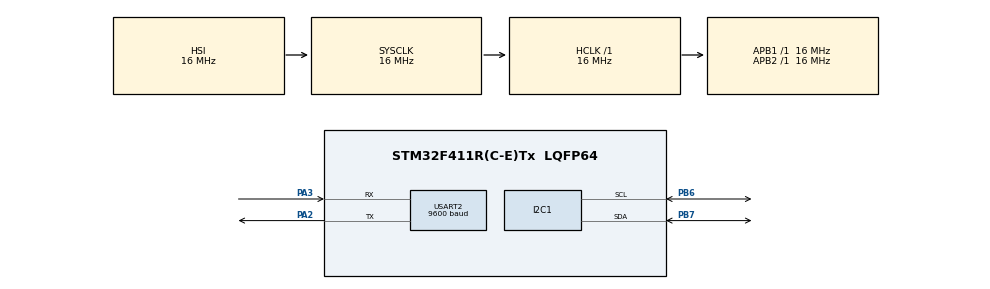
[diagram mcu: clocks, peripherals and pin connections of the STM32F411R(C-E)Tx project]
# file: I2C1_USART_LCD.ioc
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Mcu.Family=STM32F4
Mcu.Name=STM32F411R(C-E)Tx
Mcu.Package=LQFP64
NVIC.PriorityGroup=NVIC_PRIORITYGROUP_4
NVIC.USART2_IRQn=true\:0\:0\:false\:false\:true\:true\:true\:true
PA2.Mode=Asynchronous
PA2.Signal=USART2_TX
PA3.Mode=Asynchronous
PA3.Signal=USART2_RX
PB6.Mode=I2C
PB6.Signal=I2C1_SCL
PB7.Mode=I2C
PB7.Signal=I2C1_SDA
ProjectManager.HeapSize=0x200
ProjectManager.StackSize=0x400
ProjectManager.TargetToolchain=STM32CubeIDE
RCC.AHBFreq_Value=16000000
RCC.APB1Freq_Value=16000000
RCC.APB2Freq_Value=16000000
RCC.CortexFreq_Value=16000000
RCC.HSE_VALUE=25000000
RCC.HSI_VALUE=16000000
RCC.LSE_VALUE=32768
RCC.SYSCLKFreq_VALUE=16000000
RCC.VCOOutputFreq_Value=192000000
USART2.BaudRate=9600
USART2.VirtualMode=VM_ASYNC
board=custom

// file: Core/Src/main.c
/* USER CODE BEGIN Header */
/**
  ******************************************************************************
  * @file           : main.c
  * @brief          : Main program body
  ******************************************************************************
  * @attention
  *
  * Copyright (c) 2022 STMicroelectronics.
  * All rights reserved.
  *
  * This software is licensed under terms that can be found in the LICENSE file
  * in the root directory of this software component.
  * If no LICENSE file comes with this software, it is provided AS-IS.
  *
  ******************************************************************************
  */
/* USER CODE END Header */
#include "main.h"
#include <string.h>
#include"LCD.h"

I2C_HandleTypeDef hi2c1;

UART_HandleTypeDef huart2;

void SystemClock_Config(void);
static void MX_GPIO_Init(void);
static void MX_I2C1_Init(void);
static void MX_USART2_UART_Init(void);

uint8_t Rcvd_Data;
uint8_t Data_Buffer[8];
uint8_t i;
uint8_t USER_DATA[8] ="sankalp!";
uint8_t sentbit;

int main(void)
{

  /* MCU Configuration--------------------------------------------------------*/

  /* Reset of all peripherals, Initializes the Flash interface and the Systick. */
  HAL_Init();

  /* Configure the system clock */
  SystemClock_Config();

  /* Initialize all configured peripherals */
  MX_GPIO_Init();
  MX_I2C1_Init();
  MX_USART2_UART_Init();
  uint32_t count = 0;
  /* USER CODE BEGIN 2 */

	LCD_init();
	delay(10);

  HAL_UART_Transmit(&huart2, (uint8_t *)USER_DATA, strlen(USER_DATA), HAL_MAX_DELAY);
  /* USER CODE END 2 */
  /* Infinite loop */
  /* USER CODE BEGIN WHILE */
//  while (USER_DATA[i]!='\0')
//  {
//    /* USER CODE END WHILE */
//	  sentbit=USER_DATA[i];
//	  i++;
//	  HAL_I2C_Mem_Write(&hi2c1, 0xA0, 0, 0xFF, &sentbit, 1, 10);
//	  HAL_Delay(100);
//	  HAL_I2C_Mem_Read(&hi2c1, 0xA0, 0, 0xFF, &Rcvd_Data, 1, 10);
//	  Data_Buffer[count++] = Rcvd_Data;
//    /* USER CODE BEGIN 3 */
//  }

	while(1)
	{
		HAL_UART_Receive(&huart2, &Rcvd_Data, 1, HAL_MAX_DELAY);    //Read byte by byte

		if(Rcvd_Data == '\r')
		{
			//detect Return/Enter key
			Data_Buffer[count++] = '\r';
			break;
		}
		else
		{
			Data_Buffer[count++] = Rcvd_Data;
		}
	}

    HAL_UART_Transmit(&huart2, (uint8_t*)Data_Buffer, count, HAL_MAX_DELAY);
	i=0;
	count=0;
	while (Data_Buffer[i]!='\0')
	{
	  /* USER CODE END WHILE */
		sentbit=Data_Buffer[i];
//		i++;
		HAL_I2C_Mem_Write(&hi2c1, 0xA0, 0, 0xFF, &sentbit, 1, 10);
		HAL_Delay(100);
		HAL_I2C_Mem_Read(&hi2c1, 0xA0, 0, 0xFF, &Rcvd_Data, 1, 10);
		Data_Buffer[count++] = Rcvd_Data;
		USER_DATA[i]=Rcvd_Data;
		i=i+1;
	  /* USER CODE BEGIN 3 */
	}

	  char str[8];
	  LCD_string("AT24C32 INTERFACE");
	  HAL_Delay(1000);
	  LCD_command(1);
	  LCD_string("DATA WRITE");
	  LCD_command(0xC4);
	  strcpy(str,Data_Buffer);
	  LCD_string(str);
	  HAL_Delay(1000);
	  LCD_command(1);
	  LCD_string("DATA READ");
	  LCD_command(0xC4);
	  strcpy(str,USER_DATA);
	  LCD_string(str);
	  delay(500);
  /* USER CODE END 3 */
}

void SystemClock_Config(void)
{
  RCC_OscInitTypeDef RCC_OscInitStruct = {0};
  RCC_ClkInitTypeDef RCC_ClkInitStruct = {0};

  /** Configure the main internal regulator output voltage
  */
  __HAL_RCC_PWR_CLK_ENABLE();
  __HAL_PWR_VOLTAGESCALING_CONFIG(PWR_REGULATOR_VOLTAGE_SCALE1);

  /** Initializes the RCC Oscillators according to the specified parameters
  * in the RCC_OscInitTypeDef structure.
  */
  RCC_OscInitStruct.OscillatorType = RCC_OSCILLATORTYPE_HSI;
  RCC_OscInitStruct.HSIState = RCC_HSI_ON;
  RCC_OscInitStruct.HSICalibrationValue = RCC_HSICALIBRATION_DEFAULT;
  RCC_OscInitStruct.PLL.PLLState = RCC_PLL_NONE;
  if (HAL_RCC_OscConfig(&RCC_OscInitStruct) != HAL_OK)
  {
    Error_Handler();
  }

  /** Initializes the CPU, AHB and APB buses clocks
  */
  RCC_ClkInitStruct.ClockType = RCC_CLOCKTYPE_HCLK|RCC_CLOCKTYPE_SYSCLK
                              |RCC_CLOCKTYPE_PCLK1|RCC_CLOCKTYPE_PCLK2;
  RCC_ClkInitStruct.SYSCLKSource = RCC_SYSCLKSOURCE_HSI;
  RCC_ClkInitStruct.AHBCLKDivider = RCC_SYSCLK_DIV1;
  RCC_ClkInitStruct.APB1CLKDivider = RCC_HCLK_DIV1;
  RCC_ClkInitStruct.APB2CLKDivider = RCC_HCLK_DIV1;

  if (HAL_RCC_ClockConfig(&RCC_ClkInitStruct, FLASH_LATENCY_0) != HAL_OK)
  {
    Error_Handler();
  }
}

static void MX_I2C1_Init(void)
{

  hi2c1.Instance = I2C1;
  hi2c1.Init.ClockSpeed = 100000;
  hi2c1.Init.DutyCycle = I2C_DUTYCYCLE_2;
  hi2c1.Init.OwnAddress1 = 0;
  hi2c1.Init.AddressingMode = I2C_ADDRESSINGMODE_7BIT;
  hi2c1.Init.DualAddressMode = I2C_DUALADDRESS_DISABLE;
  hi2c1.Init.OwnAddress2 = 0;
  hi2c1.Init.GeneralCallMode = I2C_GENERALCALL_DISABLE;
  hi2c1.Init.NoStretchMode = I2C_NOSTRETCH_DISABLE;
  if (HAL_I2C_Init(&hi2c1) != HAL_OK)
  {
    Error_Handler();
  }

}

static void MX_USART2_UART_Init(void)
{

  huart2.Instance = USART2;
  huart2.Init.BaudRate = 9600;
  huart2.Init.WordLength = UART_WORDLENGTH_8B;
  huart2.Init.StopBits = UART_STOPBITS_1;
  huart2.Init.Parity = UART_PARITY_NONE;
  huart2.Init.Mode = UART_MODE_TX_RX;
  huart2.Init.HwFlowCtl = UART_HWCONTROL_NONE;
  huart2.Init.OverSampling = UART_OVERSAMPLING_16;
  if (HAL_UART_Init(&huart2) != HAL_OK)
  {
    Error_Handler();
  }

}

static void MX_GPIO_Init(void)
{

  /* GPIO Ports Clock Enable */
  __HAL_RCC_GPIOA_CLK_ENABLE();
  __HAL_RCC_GPIOB_CLK_ENABLE();

}

void Error_Handler(void)
{
  __disable_irq();
  while (1)
  {
  }
}
